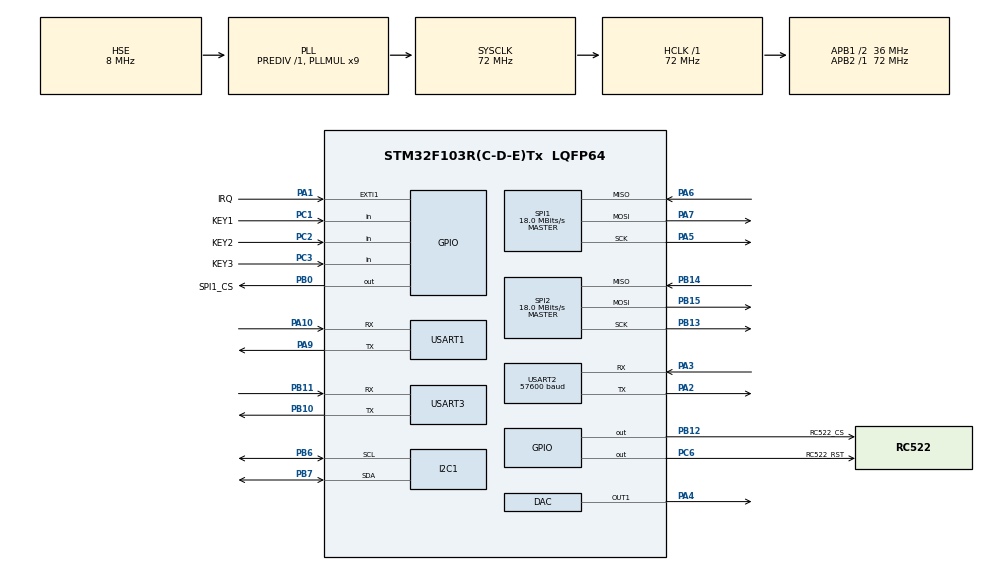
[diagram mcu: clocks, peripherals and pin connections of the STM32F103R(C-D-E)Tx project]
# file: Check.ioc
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DAC.DAC_Trigger=DAC_TRIGGER_T6_TRGO
Dma.DAC_CH1.1.Direction=DMA_MEMORY_TO_PERIPH
Dma.DAC_CH1.1.Instance=DMA2_Channel3
Dma.DAC_CH1.1.MemDataAlignment=DMA_MDATAALIGN_HALFWORD
Dma.DAC_CH1.1.MemInc=DMA_MINC_ENABLE
Dma.DAC_CH1.1.Mode=DMA_NORMAL
Dma.DAC_CH1.1.PeriphDataAlignment=DMA_PDATAALIGN_HALFWORD
Dma.DAC_CH1.1.PeriphInc=DMA_PINC_DISABLE
Dma.DAC_CH1.1.Priority=DMA_PRIORITY_LOW
Dma.Request0=USART1_RX
Dma.Request1=DAC_CH1
Dma.USART1_RX.0.Direction=DMA_PERIPH_TO_MEMORY
Dma.USART1_RX.0.Instance=DMA1_Channel5
Dma.USART1_RX.0.MemDataAlignment=DMA_MDATAALIGN_BYTE
Dma.USART1_RX.0.MemInc=DMA_MINC_ENABLE
Dma.USART1_RX.0.Mode=DMA_CIRCULAR
Dma.USART1_RX.0.PeriphDataAlignment=DMA_PDATAALIGN_BYTE
Dma.USART1_RX.0.PeriphInc=DMA_PINC_DISABLE
Dma.USART1_RX.0.Priority=DMA_PRIORITY_MEDIUM
FREERTOS.BinarySemaphores01=sem_serial_frame,Dynamic,NULL,Depleted;mutex_spi,Dynamic,NULL,Available;mutex_i2c,Dynamic,NULL,Available
FREERTOS.HEAP_NUMBER=4
FREERTOS.Queues01=queue_checkin_data,5,28,1,Dynamic,NULL,NULL
FREERTOS.Tasks01=Mqtt_Report,24,512,Mqtt_ReportTask,Default,NULL,Dynamic,NULL,NULL;Debug,9,256,DebugTask,Default,NULL,Dynamic,NULL,NULL;UART,40,1024,UARTTask,Default,NULL,Dynamic,NULL,NULL;Display,8,512,DisplayTask,Default,NULL,Dynamic,NULL,NULL;Check,24,1024,CheckTask,Default,NULL,Dynamic,NULL,NULL;TimeSync,24,128,TimeSyncTask,Default,NULL,Dynamic,NULL,NULL
FREERTOS.configMINIMAL_STACK_SIZE=128
FREERTOS.configTOTAL_HEAP_SIZE=16384
Mcu.Family=STM32F1
Mcu.Name=STM32F103R(C-D-E)Tx
Mcu.Package=LQFP64
NVIC.DMA1_Channel5_IRQn=true\:5\:0\:false\:false\:true\:true\:false\:true\:true
NVIC.DMA2_Channel3_IRQn=true\:5\:0\:false\:false\:true\:true\:false\:true\:true
NVIC.EXTI1_IRQn=true\:5\:0\:false\:false\:true\:true\:true\:true\:true
NVIC.PriorityGroup=NVIC_PRIORITYGROUP_4
NVIC.TIM4_IRQn=true\:15\:0\:false\:false\:true\:false\:false\:true\:true
NVIC.TimeBase=TIM4_IRQn
NVIC.TimeBaseIP=TIM4
NVIC.USART1_IRQn=true\:5\:0\:false\:false\:true\:true\:true\:true\:true
NVIC.USART3_IRQn=true\:5\:0\:false\:false\:true\:true\:true\:true\:true
PA1.GPIO_Label=IRQ
PA1.Signal=GPXTI1
PA10.Mode=Asynchronous
PA10.Signal=USART1_RX
PA13.Mode=Serial_Wire
PA13.Signal=SYS_JTMS-SWDIO
PA14.Mode=Serial_Wire
PA14.Signal=SYS_JTCK-SWCLK
PA2.Mode=Asynchronous
PA2.Signal=USART2_TX
PA3.Mode=Asynchronous
PA3.Signal=USART2_RX
PA4.Signal=COMP_DAC1_group
PA5.Mode=Full_Duplex_Master
PA5.Signal=SPI1_SCK
PA6.Mode=Full_Duplex_Master
PA6.Signal=SPI1_MISO
PA7.Mode=Full_Duplex_Master
PA7.Signal=SPI1_MOSI
PA9.Mode=Asynchronous
PA9.Signal=USART1_TX
PB0.GPIO_Label=SPI1_CS
PB0.Signal=GPIO_Output
PB10.Mode=Asynchronous
PB10.Signal=USART3_TX
PB11.Mode=Asynchronous
PB11.Signal=USART3_RX
PB12.GPIO_Label=RC522_CS
PB12.Signal=GPIO_Output
PB13.Mode=Full_Duplex_Master
PB13.Signal=SPI2_SCK
PB14.Mode=Full_Duplex_Master
PB14.Signal=SPI2_MISO
PB15.Mode=Full_Duplex_Master
PB15.Signal=SPI2_MOSI
PB6.Mode=I2C
PB6.Signal=I2C1_SCL
PB7.Mode=I2C
PB7.Signal=I2C1_SDA
PC1.GPIO_Label=KEY1
PC1.GPIO_PuPd=GPIO_PULLUP
PC1.Signal=GPIO_Input
PC14-OSC32_IN.Mode=LSE-External-Oscillator
PC14-OSC32_IN.Signal=RCC_OSC32_IN
PC15-OSC32_OUT.Mode=LSE-External-Oscillator
PC15-OSC32_OUT.Signal=RCC_OSC32_OUT
PC2.GPIO_Label=KEY2
PC2.GPIO_PuPd=GPIO_PULLUP
PC2.Signal=GPIO_Input
PC3.GPIO_Label=KEY3
PC3.GPIO_PuPd=GPIO_PULLUP
PC3.Signal=GPIO_Input
PC6.GPIO_Label=RC522_RST
PC6.Signal=GPIO_Output
PD0-OSC_IN.Mode=HSE-External-Oscillator
PD0-OSC_IN.Signal=RCC_OSC_IN
PD1-OSC_OUT.Mode=HSE-External-Oscillator
PD1-OSC_OUT.Signal=RCC_OSC_OUT
ProjectManager.HeapSize=0x200
ProjectManager.StackSize=0x400
ProjectManager.TargetToolchain=CMake
RCC.AHBFreq_Value=72000000
RCC.APB1CLKDivider=RCC_HCLK_DIV2
RCC.APB1Freq_Value=36000000
RCC.APB1TimFreq_Value=72000000
RCC.APB2Freq_Value=72000000
RCC.APB2TimFreq_Value=72000000
RCC.HCLKFreq_Value=72000000
RCC.PLLMUL=RCC_PLL_MUL9
RCC.PLLSourceVirtual=RCC_PLLSOURCE_HSE
RCC.SYSCLKFreq_VALUE=72000000
RCC.SYSCLKSource=RCC_SYSCLKSOURCE_PLLCLK
RCC.USBFreq_Value=72000000
SH.COMP_DAC1_group.0=DAC_OUT1,DAC_OUT1
SPI1.BaudRatePrescaler=SPI_BAUDRATEPRESCALER_4
SPI1.CalculateBaudRate=18.0 MBits/s
SPI1.Direction=SPI_DIRECTION_2LINES
SPI1.Mode=SPI_MODE_MASTER
SPI1.VirtualType=VM_MASTER
SPI2.CalculateBaudRate=18.0 MBits/s
SPI2.Direction=SPI_DIRECTION_2LINES
SPI2.Mode=SPI_MODE_MASTER
SPI2.VirtualType=VM_MASTER
TIM6.TIM_MasterOutputTrigger=TIM_TRGO_UPDATE
USART1.VirtualMode=VM_ASYNC
USART2.BaudRate=57600
USART2.VirtualMode=VM_ASYNC
USART3.VirtualMode=VM_ASYNC
VP_FREERTOS_VS_CMSIS_V2.Mode=CMSIS_V2
VP_RTC_VS_RTC_Activate.Mode=RTC_Enabled
VP_SYS_VS_tim4.Mode=TIM4
VP_TIM6_VS_ClockSourceINT.Mode=Enable_Timer
board=custom

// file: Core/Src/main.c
/* USER CODE BEGIN Header */
/**
  ******************************************************************************
  * @file           : main.c
  * @brief          : Main program body
  ******************************************************************************
  * @attention
  *
  * Copyright (c) 2026 STMicroelectronics.
  * All rights reserved.
  *
  * This software is licensed under terms that can be found in the LICENSE file
  * in the root directory of this software component.
  * If no LICENSE file comes with this software, it is provided AS-IS.
  *
  ******************************************************************************
  */
/* USER CODE END Header */
#include "main.h"
#include "cmsis_os.h"
#include "dac.h"
#include "dma.h"
#include "i2c.h"
#include "rtc.h"
#include "spi.h"
#include "stm32f1xx_hal.h"
#include "stm32f1xx_hal_uart.h"
#include "tim.h"
#include "usart.h"
#include "gpio.h"

/* USER CODE BEGIN Includes */
#include "Com_debug.h"
#include "stdio.h"
#include "Com_protocol.h"
#include "application.h"
#include "app_services.h"
#include "w25q32_test.h"
#include "audio_system_init.h"  // 添加音频系统初始化
#include "audio_flash_storage.h"
#include "audio_resources.h"
/* Mute control implementation (moved out of main to ensure external linkage) */

void Mute_Init(void)
{
  GPIO_InitTypeDef GPIO_InitStruct = {0};

  __HAL_RCC_GPIOB_CLK_ENABLE();  // 使能 GPIOB 时钟

  GPIO_InitStruct.Pin = GPIO_PIN_1;
  GPIO_InitStruct.Mode = GPIO_MODE_OUTPUT_PP;
  GPIO_InitStruct.Pull = GPIO_NOPULL;      // 外部已有上拉，内部不用
  GPIO_InitStruct.Speed = GPIO_SPEED_FREQ_LOW;
  HAL_GPIO_Init(GPIOB, &GPIO_InitStruct);

  HAL_GPIO_WritePin(GPIOB, GPIO_PIN_1, GPIO_PIN_SET);  // 默认高电平，解除静音
}

void Mute_Enable(void)
{
  HAL_GPIO_WritePin(GPIOB, GPIO_PIN_1, GPIO_PIN_SET);  // 高电平 → 解除静音（允许发声）
}

void Mute_Disable(void)
{
  HAL_GPIO_WritePin(GPIOB, GPIO_PIN_1, GPIO_PIN_RESET); // 低电平 → 静音
}

  PUTCHAR_PROTOTYPE
{
  HAL_UART_Transmit(&huart3, (uint8_t *)&ch, 1, 100);
  return ch;
}

/* ==================== W25Q32测试任务 ==================== */
/**
  * @brief  W25Q32测试任务
  * @param  argument: 任务参数
  * @retval None
  */
void W25Q32_TestTask(void *argument)
{
    (void) argument;

    printf("W25Q32测试任务启动\r\n");

    // 初始化W25Q32
    W25Q32_Test_Init();

    // 延迟一段时间，确保SPI初始化完成
    vTaskDelay(pdMS_TO_TICKS(1000));

    // 执行完整测试
    W25Q32_FullTest();

    // 测试完成后暂停
    printf("W25Q32测试完成，任务结束\r\n");

    // 删除自身任务
    vTaskDelete(NULL);
}

/* USER CODE END Includes */

void SystemClock_Config(void);
void MX_FREERTOS_Init(void);

int main(void)
{

  /* USER CODE END 1 */

  /* MCU Configuration--------------------------------------------------------*/

  /* Reset of all peripherals, Initializes the Flash interface and the Systick. */

  HAL_Init();

  /* Configure the system clock */
  SystemClock_Config();

  /* Initialize all configured peripherals */
  MX_GPIO_Init();
  MX_DMA_Init();
  MX_RTC_Init();
  MX_USART3_UART_Init();
  MX_USART1_UART_Init();
  MX_DAC_Init();
  MX_I2C1_Init();
  MX_SPI1_Init();
  MX_SPI2_Init();
  MX_USART2_UART_Init();
  MX_TIM6_Init();
  Mute_Init();  // 初始化静音控制引脚

  // 配置TIM6中断优先级
  HAL_NVIC_SetPriority(TIM6_DAC_IRQn, 0, 0);
  HAL_NVIC_EnableIRQ(TIM6_DAC_IRQn);
  /* USER CODE BEGIN 2 */
  COM_DEBUG("System Init\r\n");
  Com_Protocol_Init();
  Application_Init();
// // 音频播放简单测试
// HAL_Delay(2000); // 等待系统稳定
// printf("开始音频播放测试...\r\n");

//初始化音频系统，这将擦除旧音频数据并以正确采样率重新存储
  // extern int8_t AudioSystem_Init(void);
  // if(AudioSystem_Init() == 0) {
  //   COM_DEBUG("音频系统初始化成功!\r\n");
  // }

  //   // 短暂延时以确保音频数据完全存储
  //   // HAL_Delay(1000);

    // // 播放Flash中的音频文件进行测试
    // int8_t result = AudioFlashStorage_PlayAudio("check_ok.bin");
    // HAL_Delay(1000);
    // result = AudioFlashStorage_PlayAudio("check_fail.bin");
    // HAL_Delay(1000);
    //    result =  AudioFlashStorage_PlayAudio("late.bin");
    // HAL_Delay(1000);
    //  result =    AudioFlashStorage_PlayAudio("early.bin");
    // HAL_Delay(1000);
    //   result =   AudioFlashStorage_PlayAudio("enroll_ok.bin");
    // HAL_Delay(1000);
    //    result =      AudioFlashStorage_PlayAudio("time_sync.bin");
    // HAL_Delay(1000);
    //    result =      AudioFlashStorage_PlayAudio("unknown.bin");
    // if(result == 0) {
    //   COM_DEBUG("Flash音频播放成功!\r\n");
    // } else {
    //   COM_DEBUG("Flash音频播放失败! 错误码: %d\r\n", result);
    // }
  //}
  // } else {
  //   COM_DEBUG("音频系统初始化失败!\r\n");

  //   // 如果音频系统初始化失败，尝试直接播放测试
  //   AudioFlashStorage_PlayActualCheckSuccess(); // 播放"打卡成功"音频
  // }

  /* USER CODE END 2 */

  /* Init scheduler */
  osKernelInitialize();  /* Call init function for freertos objects (in cmsis_os2.c) */
  MX_FREERTOS_Init();

  /* Start scheduler */
  osKernelStart();
//App_Zw101_ClearLibrary(0U);//清除指纹库

  /* We should never get here as control is now taken by the scheduler */

  /* Infinite loop */
  while (1)
  {

  }
}

void SystemClock_Config(void)
{
  RCC_OscInitTypeDef RCC_OscInitStruct = {0};
  RCC_ClkInitTypeDef RCC_ClkInitStruct = {0};
  RCC_PeriphCLKInitTypeDef PeriphClkInit = {0};

  /** Initializes the RCC Oscillators according to the specified parameters
  * in the RCC_OscInitTypeDef structure.
  */
  RCC_OscInitStruct.OscillatorType = RCC_OSCILLATORTYPE_LSI|RCC_OSCILLATORTYPE_HSE;
  RCC_OscInitStruct.HSEState = RCC_HSE_ON;
  RCC_OscInitStruct.HSEPredivValue = RCC_HSE_PREDIV_DIV1;
  RCC_OscInitStruct.HSIState = RCC_HSI_ON;
  RCC_OscInitStruct.LSIState = RCC_LSI_ON;
  RCC_OscInitStruct.PLL.PLLState = RCC_PLL_ON;
  RCC_OscInitStruct.PLL.PLLSource = RCC_PLLSOURCE_HSE;
  RCC_OscInitStruct.PLL.PLLMUL = RCC_PLL_MUL9;
  if (HAL_RCC_OscConfig(&RCC_OscInitStruct) != HAL_OK)
  {
    Error_Handler();
  }

  /** Initializes the CPU, AHB and APB buses clocks
  */
  RCC_ClkInitStruct.ClockType = RCC_CLOCKTYPE_HCLK|RCC_CLOCKTYPE_SYSCLK
                              |RCC_CLOCKTYPE_PCLK1|RCC_CLOCKTYPE_PCLK2;
  RCC_ClkInitStruct.SYSCLKSource = RCC_SYSCLKSOURCE_PLLCLK;
  RCC_ClkInitStruct.AHBCLKDivider = RCC_SYSCLK_DIV1;
  RCC_ClkInitStruct.APB1CLKDivider = RCC_HCLK_DIV2;
  RCC_ClkInitStruct.APB2CLKDivider = RCC_HCLK_DIV1;

  if (HAL_RCC_ClockConfig(&RCC_ClkInitStruct, FLASH_LATENCY_2) != HAL_OK)
  {
    Error_Handler();
  }
  PeriphClkInit.PeriphClockSelection = RCC_PERIPHCLK_RTC;
  PeriphClkInit.RTCClockSelection = RCC_RTCCLKSOURCE_LSI;
  if (HAL_RCCEx_PeriphCLKConfig(&PeriphClkInit) != HAL_OK)
  {
    Error_Handler();
  }
}

void HAL_TIM_PeriodElapsedCallback(TIM_HandleTypeDef *htim)
{
  if (htim->Instance == TIM4)
  {
    HAL_IncTick();
  }
}

void Error_Handler(void)
{
  __disable_irq();
  while (1)
  {
  }
}

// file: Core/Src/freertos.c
/* USER CODE BEGIN Header */
/**
  ******************************************************************************
  * File Name          : freertos.c
  * Description        : 考勤机 FreeRTOS 任务管理（Display/Check分离，音频独立）
  ******************************************************************************
  */
/* USER CODE END Header */

#include "FreeRTOS.h"
#include "cmsis_os2.h"
#include "task.h"
#include "main.h"
#include "cmsis_os.h"

/* 自有驱动头文件 */
#include "Com_debug.h"
#include "Com_protocol.h"
#include "key_input.h"
#include "oled_ssd1306.h"
#include "rtc.h"
#include "string.h"
#include "spi.h"
#include "audio_dac_app.h"
#include "rc522_app.h"
#include "stdio.h"
#include "zw101_app.h"
#include "oled_ssd1306.h"
#include "user_db.h"
#include "runtime_manager.h"
#include "application.h"
/* ===================== 全局变量 ===================== */

#if APPLICATION_RUN_BOARD_TEST
static  AttendanceDisplayModelTypeDef g_test_display;
static uint8_t g_display_timeout = 0;
void ZW101TestTask(void *argument);
#endif
/* -------------------------- FreeRTOS 任务句柄定义 -------------------------- */

osThreadId_t UARTHandle;
const osThreadAttr_t UART_attributes =
{
  .name = "UART",
  .stack_size = 512 * 4,
  .priority = osPriorityHigh,
};

osThreadId_t DisplayHandle;
const osThreadAttr_t Display_attributes =
{
  .name = "Display",
  .stack_size = 512 * 4,
  .priority = osPriorityLow,
};

osThreadId_t CheckHandle;
const osThreadAttr_t Check_attributes =
{
  .name = "Check",
  .stack_size = 1024 * 4,
  .priority = osPriorityNormal,
};

osThreadId_t AudioPlayHandle;
const osThreadAttr_t AudioPlay_attributes =
{
  .name = "AudioPlay",
  .stack_size = 256 * 4,
  .priority = osPriorityLow,
};

/* -------------------------- 队列 / 信号量 -------------------------- */

osSemaphoreId_t mutex_i2cHandle;
const osSemaphoreAttr_t mutex_i2c_attributes =
{
  "mutex_i2c"
};

osMessageQueueId_t audioQueueHandle;
const osMessageQueueAttr_t audioQueue_attributes =
{
  .name = "audioQueue"
};
#if APPLICATION_RUN_BOARD_TEST
osThreadId_t ZW101TestHandle;
const osThreadAttr_t ZW101Test_attributes =
{
  .name = "ZW101Test",
  .stack_size = 512 * 4,
  .priority = osPriorityLow,
};
#endif

osThreadId_t SystemCheckHandle;
const osThreadAttr_t SystemCheck_attributes =
{
  .name = "SystemCheck",
  .stack_size = 256 * 4,
  .priority = osPriorityHigh,
};

#if APPLICATION_RUN_BOARD_TEST
osThreadId_t RFIDTestHandle;
const osThreadAttr_t RFIDTest_attributes =
{
  .name = "RFIDTest",
  .stack_size = 256 * 4,
  .priority = osPriorityNormal,
};
#endif
/* -------------------------- 内部函数声明 -------------------------- */

static void TestDisplay_SetBootScreen(void);
static void TestDisplay_SetKeyEvent(KeyEventTypeDef key_event);
static void TestDisplay_SetRtc(
        const RTC_TimeTypeDef *time,
        const RTC_DateTypeDef *date);

/* 外部任务声明 */

void DisplayTask(void *argument);
void CheckTask(void *argument);
void AudioPlayTask(void *argument);
void UARTTask(void *argument);
void SystemCheckTask(void *argument);
void RFIDTestTask(void *argument);

/* ==================== FreeRTOS 初始化 ==================== */

void MX_FREERTOS_Init(void)
{
  COM_DEBUG(">>> 系统启动中...");

#if APPLICATION_RUN_BOARD_TEST
  TestDisplay_SetBootScreen();
#endif

  DAC_Sound_Init();

  RuntimeManager_Init();

#if APPLICATION_RUN_BOARD_TEST
ZW101TestHandle =
osThreadNew(
  ZW101TestTask,
  NULL,
  &ZW101Test_attributes);
#endif

  mutex_i2cHandle =
  osSemaphoreNew(
      1,
      1,
      &mutex_i2c_attributes);

  audioQueueHandle =
  osMessageQueueNew(
      4,
      sizeof(uint8_t),
      &audioQueue_attributes);

  DisplayHandle =
  osThreadNew(
      DisplayTask,
      NULL,
      &Display_attributes);

  CheckHandle =
  osThreadNew(
      CheckTask,
      NULL,
      &Check_attributes);

  AudioPlayHandle =
  osThreadNew(
      AudioPlayTask,
      NULL,
      &AudioPlay_attributes);

  UARTHandle =
  osThreadNew(
      UARTTask,
      NULL,
      &UART_attributes);

  /* 在 RTOS 环境中创建串口帧队列（中断 -> 任务 传递完整帧） */
  if (frame_queue == NULL) {
    frame_queue = xQueueCreate(4, FRAME_MAX_LEN + 1); /* msg[0]=len, msg[1..] = frame */
  }

  // 创建系统自检任务
  SystemCheckHandle =
  osThreadNew(
      SystemCheckTask,
      NULL,
      &SystemCheck_attributes);

#if APPLICATION_RUN_BOARD_TEST
  // 创建RFID测试任务
  RFIDTestHandle =
  osThreadNew(
      RFIDTestTask,
      NULL,
      &RFIDTest_attributes);
#endif

  uint8_t cmd = 4;
  osMessageQueuePut(audioQueueHandle,&cmd,0,0);

  COM_DEBUG(">>> 系统启动完成");
}

/* ==================== UI函数 ==================== */

#if APPLICATION_RUN_BOARD_TEST
static void TestDisplay_SetBootScreen(void)
{
  memset((void*)&g_test_display,0,sizeof(g_test_display));

  g_test_display.page = OLED_PAGE_IDLE;

  snprintf(g_test_display.line1,32,"ATTENDANCE");
  snprintf(g_test_display.line2,32,"SYSTEM START");
  snprintf(g_test_display.line3,32,"STM32F103");
  snprintf(g_test_display.line4,32,"BOOT OK");
}
#endif

#if APPLICATION_RUN_BOARD_TEST
static void TestDisplay_SetKeyEvent(
  KeyEventTypeDef key_event)
{

  uint8_t audio_cmd = 0;

  if(audio_cmd != 0)
  {
    osMessageQueuePut(
      audioQueueHandle,
      &audio_cmd,
      0,
      0);
  }
}
#endif

#if APPLICATION_RUN_BOARD_TEST
static void TestDisplay_SetRtc(
  const RTC_TimeTypeDef *time,
  const RTC_DateTypeDef *date)
{
  snprintf(g_test_display.line1,32,"ATTENDANCE");
  snprintf(g_test_display.line2,32,"TIME");

  snprintf(g_test_display.line3,
           32,
           "%02d:%02d:%02d",
           time->Hours,
           time->Minutes,
           time->Seconds);

  snprintf(g_test_display.line4,32,"READY");
}
#endif

/* ==================== Display Task ==================== */

void DisplayTask(void *argument)
{
  // RTC_TimeTypeDef rtc_time;
  // RTC_DateTypeDef rtc_date;
  AttendanceDisplayModelTypeDef display_snapshot;
  COM_DEBUG("Display Task Start");

  for(;;)
  {

    RuntimeManager_DisplayTaskStep();
    RuntimeManager_TimeSyncTaskStep();

    RuntimeManager_GetDisplaySnapshot(&display_snapshot);

    if (Oled_ConsumeReinitRequest()) {
      COM_DEBUG("DisplayTask: performing OLED re-init as requested");
      /* Oled_Init 内部已获取 I2C 互斥 */
      Oled_Init();
    }

    /* Oled_RenderDisplayModel 最终会调用 Oled_UpdateScreen，驱动层负责互斥保护 */
    Oled_RenderDisplayModel(&display_snapshot);
    osDelay(100);

  }

}

/* ==================== Check Task ==================== */
void CheckTask(void *argument)
{
  COM_DEBUG("Check Task Start");

  for(;;)
  {
    RuntimeManager_CheckTaskStep();
    osDelay(50);
  }
}

/* ==================== Audio Task ==================== */

void AudioPlayTask(void *argument)
{
  uint8_t cmd;
  static uint8_t playing = 0;

  for(;;)
  {
    if(osMessageQueueGet(audioQueueHandle,&cmd,NULL,portMAX_DELAY)==osOK)
    {
      if(playing) continue;

      playing = 1;

      switch(cmd)
      {
        case 1: DAC_Sound_Beep(); break;
        case 2: DAC_Sound_Success(); break;
        case 3: DAC_Sound_Error(); break;
        case 4: DAC_Sound_Welcome(); break;
      }

      playing = 0;
    }
  }
}

/* ==================== 其他任务 ==================== */
#if APPLICATION_RUN_BOARD_TEST
void ZW101TestTask(void *argument)
{
  ZW101_StatusTypeDef st;
  ZW101_SearchResultTypeDef res;

  COM_DEBUG("ZW101 TEST START");

  // 先验证通信

  for(;;)
  {

  st = ZW101_VerifyPassword(0);
  COM_DEBUG("INIT verify = %d", st);

  if(st != ZW101_OK)
  {
    COM_DEBUG("❌ ZW101 INIT FAIL");
  }
  else
  {
    COM_DEBUG("✅ ZW101 INIT OK");
  }
    // ===== 测试1：采集指纹图像 =====
    st = ZW101_CollectImage();
    COM_DEBUG("CollectImage = %d", st);

    if(st == ZW101_NO_FINGER)
    {
      COM_DEBUG("👉 no finger");
    }
    else if(st == ZW101_OK)
    {
      // ===== 测试2：特征提取 =====
      st = ZW101_GenerateChar(1);
      COM_DEBUG("GenerateChar = %d", st);

      if(st == ZW101_OK)
      {
        // ===== 测试3：搜索 =====
        st = ZW101_Search(1, 0, 300, &res);
        COM_DEBUG("Search = %d, ID=%d score=%d",
                  st, res.page_id, res.match_score);
      }
    }

    osDelay(1500);
   }
}
#endif

/* ==================== 系统自检任务 ==================== */
void SystemCheckTask(void *argument)
{
  COM_DEBUG("=== System Boot Check ===");

  // 1. Check RTC
  COM_DEBUG("[OK] RTC: Initialized");

  // 2. Check OLED
  Oled_Init();
  Oled_Clear();
  Oled_DrawString(0, 0, "SYSTEM CHECK");
  Oled_DrawString(0, 2, "OLED: OK");
  Oled_DrawString(0, 4, "Ver 1.0");
  COM_DEBUG("[OK] OLED: Display OK");
  osDelay(2000);

  // 3. Check RTC Time
  RTC_TimeTypeDef time;
  RTC_DateTypeDef date;
  if(HAL_RTC_GetTime(&hrtc, &time, RTC_FORMAT_BIN) == HAL_OK &&
     HAL_RTC_GetDate(&hrtc, &date, RTC_FORMAT_BIN) == HAL_OK)
  {
    COM_DEBUG("[OK] RTC: Time read OK %02d:%02d:%02d", time.Hours, time.Minutes, time.Seconds);
    /* RTC 时间可读则认为时钟有效，通知考勤模块 */
    Attendance_SetRtcValid(1U);
  }
  else
  {
    COM_DEBUG("[FAIL] RTC: Time read error");
  }

  // 4. Check User Database
  UserDb_Init();
  COM_DEBUG("[OK] UserDB: Init OK, Users: %d", UserDB_GetUserCount());

  // Add test users
#if APPLICATION_RUN_BOARD_TEST
  UserDB_AddTestUser();
  COM_DEBUG("[OK] Test users added");
  UserDB_PrintAllUsers();
#endif

  // 5. Check Attendance System
  Attendance_Init();
  COM_DEBUG("[OK] Attendance: Init OK");

  // 6. Check Protocol
  Com_Protocol_Init();
  COM_DEBUG("[OK] Protocol: Init OK");

  // Show system ready screen
  Oled_Clear();
  Oled_DrawString(0, 0, "SYSTEM READY");
  Oled_DrawString(0, 2, "Press any key");
  Oled_DrawString(0, 4, "STM32F103");
  Oled_DrawString(0, 6, "Attendance V1.0");

  COM_DEBUG("=== System Check Complete ===");

  // Self-check complete, enter low power mode
  for(;;)
  {
    osDelay(1000);
  }
}

void UARTTask(void *argument)
{
  uint8_t msg[FRAME_MAX_LEN + 1];
  for(;;)
  {
    /* 从串口帧队列中读取完整帧并交由解析处理 */
    if (frame_queue != NULL && xQueueReceive(frame_queue, msg, pdMS_TO_TICKS(100)) == pdPASS)
    {
      uint8_t len = msg[0];
      if (len > 0 && len <= FRAME_MAX_LEN)
      {
        /* msg[1..len] 包含帧数据 */
        Com_ProcessReceivedFrame(&msg[1], len);
      }
    }
    else
    {
      osDelay(10);
    }
  }
}
